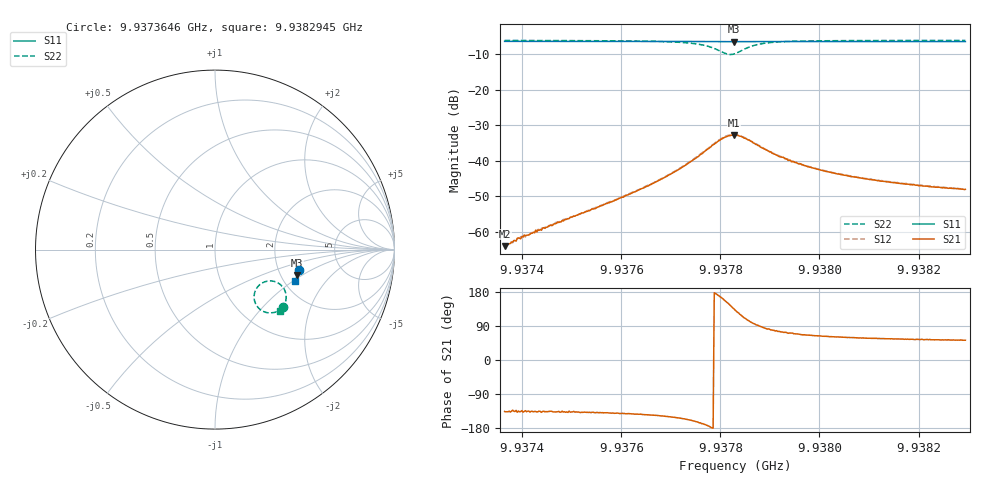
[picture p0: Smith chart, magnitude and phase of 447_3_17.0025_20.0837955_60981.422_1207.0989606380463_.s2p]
#  HZ  S  RI  R  50.00
! Rohde & Schwarz Vector Network Analyzer
! Rohde-Schwarz,ZNB20-2Port,1311601062101988,3.16
! Created: UTC 3/20/2024, 11:12:07 PM
! freq[Hz]  re:S11  im:S11  re:S21  im:S21  re:S12  im:S12  re:S22  im:S22
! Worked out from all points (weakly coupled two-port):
!   401 points, 9.9373646 GHz to 9.9382945 GHz, reference 50 ohm
!   highest |S21| = -32.77 dB at 9.9378272 GHz (marker M1); lowest = -64.0 dB at 9.9373646 GHz (marker M2)
!   lowest |S11| = -6.4 dB at 9.9378272 GHz (marker M3), VSWR 2.84, Z = 122 - j45 ohm
!   |S11| at or under -10 dB: nowhere
!   |S22| runs from -10.0 to -6.1 dB; largest |S21 - S12| = 0.00097
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9.93736459e9  0.47 -0.1128  -0.00045 -0.000438  -0.000475 -0.00042  0.38 -0.3212
9.93739481e9  0.4694 -0.1147  -0.000587 -0.000551  -0.00058 -0.000563  0.3776 -0.3233
9.93746688e9  0.4677 -0.1196  -0.00095 -0.000879  -0.000992 -0.000908  0.3708 -0.329
9.93752035e9  0.4666 -0.1231  -0.00136 -0.00124  -0.00141 -0.0012  0.3646 -0.3336
9.93758544e9  0.4651 -0.1276  -0.0021 -0.00172  -0.00214 -0.00176  0.3549 -0.3401
9.9376761e9  0.4627 -0.1337  -0.00445 -0.00291  -0.00456 -0.00283  0.3304 -0.35
9.93772724e9  0.4611 -0.1373  -0.00768 -0.00353  -0.00788 -0.00346  0.3012 -0.3528
9.93777141e9  0.4594 -0.1401  -0.014 -0.00204  -0.0141 -0.00184  0.2522 -0.3342
9.93779001e9  0.4584 -0.1409  -0.0177 0.00134  -0.018 0.00177  0.2267 -0.3025
9.93780628e9  0.4575 -0.1414  -0.0199 0.00709  -0.0199 0.0079  0.2183 -0.2542
9.9378179e9  0.4573 -0.1415  -0.0189 0.0124  -0.0188 0.0133  0.2329 -0.2137
9.9378272e9  0.4571 -0.1415  -0.0163 0.0162  -0.0161 0.017  0.2587 -0.1885
9.93782953e9  0.4574 -0.1416  -0.0153 0.0171  -0.0151 0.0179  0.2666 -0.184
9.93784813e9  0.4577 -0.1421  -0.00757 0.0195  -0.00725 0.0201  0.3296 -0.1771
9.93788067e9  0.458 -0.1447  0.000343 0.0156  0.000822 0.0159  0.3857 -0.2208
9.93790857e9  0.4578 -0.1467  0.00258 0.0122  0.00293 0.0123  0.3961 -0.2531
9.93792949e9  0.4572 -0.1484  0.00318 0.0103  0.0035 0.0104  0.3966 -0.2698
9.93794111e9  0.457 -0.1492  0.00329 0.00968  0.00352 0.00953  0.396 -0.2771
9.93798528e9  0.456 -0.1522  0.00339 0.00722  0.00355 0.00722  0.3911 -0.2965
9.938062e9  0.4541 -0.1574  0.00308 0.00517  0.00327 0.00518  0.3819 -0.3153
9.93814103e9  0.4517 -0.1626  0.0028 0.00416  0.0029 0.00416  0.3742 -0.3266
9.93829446e9  0.4475 -0.1725  0.00242 0.00312  0.0025 0.00312  0.3617 -0.3412
